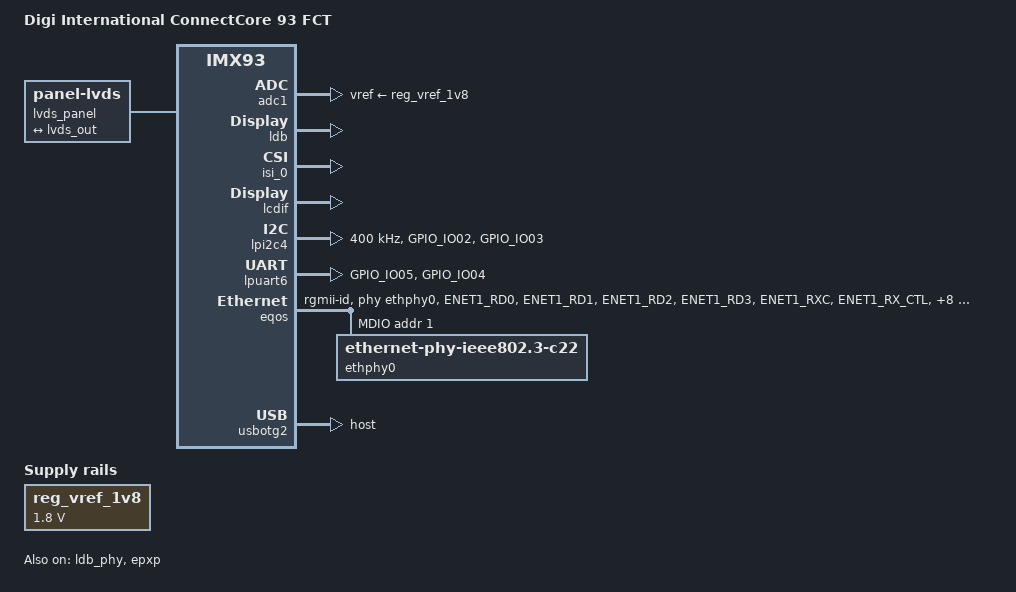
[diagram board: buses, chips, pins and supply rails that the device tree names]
/*
 * Copyright 2022, Digi International Inc.
 *
 * Permission to use, copy, modify, and/or distribute this software for any
 * purpose with or without fee is hereby granted, provided that the above
 * copyright notice and this permission notice appear in all copies.
 * THE SOFTWARE IS PROVIDED "AS IS" AND THE AUTHOR DISCLAIMS ALL WARRANTIES
 * WITH REGARD TO THIS SOFTWARE INCLUDING ALL IMPLIED WARRANTIES OF
 * MERCHANTABILITY AND FITNESS. IN NO EVENT SHALL THE AUTHOR BE LIABLE FOR
 * ANY SPECIAL, DIRECT, INDIRECT, OR CONSEQUENTIAL DAMAGES OR ANY DAMAGES
 * WHATSOEVER RESULTING FROM LOSS OF USE, DATA OR PROFITS, WHETHER IN AN
 * ACTION OF CONTRACT, NEGLIGENCE OR OTHER TORTIOUS ACTION, ARISING OUT OF
 * OR IN CONNECTION WITH THE USE OR PERFORMANCE OF THIS SOFTWARE.
 */

/dts-v1/;

/* i.MX93 CPU */
#include "../freescale/imx93.dtsi"
/* Digi ConnectCore 93 (SOM) */
#include "ccimx93.dtsi"

/ {
	model = "Digi International ConnectCore 93 FCT";
	compatible = "digi,ccimx93-dvk", "digi,ccimx93", "fsl,imx93";
	digi,machine,name = "ccimx93-dvk";

	chosen {
		stdout-path = &lpuart6;
	};

	regulators {
		compatible = "simple-bus";
		#address-cells = <1>;
		#size-cells = <0>;

		reg_vref_1v8: regulator-adc-vref {
			compatible = "regulator-fixed";
			regulator-name = "vref_1v8";
			regulator-min-microvolt = <1800000>;
			regulator-max-microvolt = <1800000>;
		};
	};

	lvds_panel: lvds_panel {
		compatible = "panel-lvds";
		status = "okay";
		data-mapping = "jeida-24";
		de-high;
		width-mm = <216>;
		height-mm = <135>;

		/* AUO G101EVN01.0 */
		panel-timing {
			clock-frequency = <68930000>;
			hactive = <1280>;
			vactive = <800>;
			hfront-porch = <120>;
			hback-porch = <2>;
			hsync-len = <8>;
			vback-porch = <10>;
			vfront-porch = <2>;
			vsync-len = <6>;
			hsync-active = <1>;
			vsync-active = <1>;
		};

		port {
			panel_lvds_in: endpoint {
				remote-endpoint = <&lvds_out>;
			};
		};
	};
};

/* ADC - 4 channels */
&adc1 {
	vref-supply = <&reg_vref_1v8>;
	status = "okay";
};

/* LVDS interface */
&ldb {
	status = "okay";

	lvds-channel@0 {
		status = "okay";

		port@1 {
			reg = <1>;

			lvds_out: endpoint {
				remote-endpoint = <&panel_lvds_in>;
			};
		};
	};
};

/* LVDS PHY */
&ldb_phy {
	status = "okay";
};

&epxp {
	status = "okay";
};

&isi_0 {
	status = "okay";

	cap_device {
		status = "okay";
	};
};

&lcdif {
	status = "okay";
	assigned-clock-rates = <498000000>, <68930000>, <400000000>, <133333333>;
};

/* I2C4 - Audio codec and HDMI bridge */
&lpi2c4 {
	#address-cells = <1>;
	#size-cells = <0>;
	clock-frequency = <400000>;
	pinctrl-names = "default", "sleep";
	pinctrl-0 = <&pinctrl_lpi2c4>;
	pinctrl-1 = <&pinctrl_lpi2c4>;
	status = "okay";
};

&lpuart6 { /* console */
	pinctrl-names = "default";
	pinctrl-0 = <&pinctrl_uart6>;
	status = "okay";
};

/* Ethernet EQoS */
&eqos {
	pinctrl-names = "default";
	pinctrl-0 = <&pinctrl_eqos>, <&pinctrl_eqos_mdio>;
	phy-mode = "rgmii-id";
	phy-handle = <&ethphy0>;
	status = "okay";

	mdio {
		compatible = "snps,dwmac-mdio";
		#address-cells = <1>;
		#size-cells = <0>;
		clock-frequency = <5000000>;

		ethphy0: ethernet-phy@1 {
			compatible = "ethernet-phy-ieee802.3-c22";
			reg = <1>;
		};
	};
};


/* USB_OTG2 connected to usb hub */
&usbotg2 {
	dr_mode = "host";
	disable-over-current;
	status = "okay";
};

&iomuxc {
	pinctrl-names = "default";
	pinctrl-0 = <&pinctrl_hog_common>, <&pinctrl_hog_non_wb>;
	pinctrl_hog_common: hoggrpcommon {
		fsl,pins = <
			/* COMMON PAIRS */
/* B24 */		MX93_PAD_GPIO_IO17__GPIO2_IO17				0x31e
/* C18 */		MX93_PAD_SAI1_TXC__GPIO1_IO12				0x31e

/* C17 */		MX93_PAD_SAI1_TXFS__GPIO1_IO11				0x31e
/* C19 */		MX93_PAD_GPIO_IO26__GPIO2_IO26				0x31e

/* C24 */		MX93_PAD_GPIO_IO24__GPIO2_IO24				0x31e
/* D17 */		MX93_PAD_GPIO_IO15__GPIO2_IO15				0x31e

/* E3 */		MX93_PAD_GPIO_IO19__GPIO2_IO19				0x31e
/* D18 */		MX93_PAD_SAI1_RXD0__GPIO1_IO14				0x31e

/* E4 */		MX93_PAD_SD2_RESET_B__GPIO3_IO07			0x31e
/* E22 */		MX93_PAD_GPIO_IO13__GPIO2_IO13				0x31e

/* E27 */		MX93_PAD_GPIO_IO23__GPIO2_IO23				0x31e
/* E18 */		MX93_PAD_GPIO_IO14__GPIO2_IO14				0x31e

/* E28 */		MX93_PAD_GPIO_IO22__GPIO2_IO22				0x31e
/* E19 */		MX93_PAD_GPIO_IO12__GPIO2_IO12				0x31e

/* F1 */		MX93_PAD_SD2_CMD__GPIO3_IO02				0x31e
/* E17 */		MX93_PAD_SAI1_TXD0__GPIO1_IO13				0x31e

/* G1 */		MX93_PAD_SD2_DATA0__GPIO3_IO03				0x31e
/* E20 */		MX93_PAD_GPIO_IO21__GPIO2_IO21				0x31e

/* G2 */		MX93_PAD_SD2_CD_B__GPIO3_IO00				0x31e
/* E21 */		MX93_PAD_GPIO_IO20__GPIO2_IO20				0x31e

/* E23 */		MX93_PAD_GPIO_IO16__GPIO2_IO16				0x31e
/* D25 */		MX93_PAD_CCM_CLKO2__GPIO3_IO27				0x31e

/* H1 */		MX93_PAD_SD2_DATA1__GPIO3_IO04				0x31e
/* J1 */		MX93_PAD_SD2_DATA2__GPIO3_IO05				0x31e

/* K1 */		MX93_PAD_SD2_DATA3__GPIO3_IO06				0x31e
/* U29 */		MX93_PAD_PDM_BIT_STREAM0__GPIO1_IO09			0x31e

/* L1 */		MX93_PAD_SD2_CLK__GPIO3_IO01				0x31e
/* T29 */		MX93_PAD_PDM_CLK__GPIO1_IO08				0x31e

/* N29 */		MX93_PAD_GPIO_IO11__GPIO2_IO11				0x31e
/* M29 */		MX93_PAD_GPIO_IO10__GPIO2_IO10				0x31e

/* R1 */		MX93_PAD_GPIO_IO09__GPIO2_IO09				0x31e
/* AF1 */		MX93_PAD_ENET2_MDC__GPIO4_IO14				0x31e

/* Y1 */		MX93_PAD_PDM_BIT_STREAM1__GPIO1_IO10			0x31e
/* AG1 */		MX93_PAD_ENET2_MDIO__GPIO4_IO15				0x31e

/* P1 */		MX93_PAD_GPIO_IO08__GPIO2_IO08				0x31e
/* AL20 */		MX93_PAD_GPIO_IO28__GPIO2_IO28				0x31e

/* AN5 */		MX93_PAD_SD2_VSELECT__GPIO3_IO19			0x31e
/* AL18 */		MX93_PAD_CCM_CLKO1__GPIO3_IO26				0x31e

/* AG28 */		MX93_PAD_CCM_CLKO4__GPIO4_IO29				0x31e
/* AG25 */		MX93_PAD_CCM_CLKO3__GPIO4_IO28				0x31e

/* V1 */		MX93_PAD_I2C2_SCL__GPIO1_IO02				0x31e
/* W1 */		MX93_PAD_I2C2_SDA__GPIO1_IO03				0x31e

/* AN4 (LED test) */	MX93_PAD_GPIO_IO18__GPIO2_IO18				0x31e
		>;
	};

	pinctrl_hog_non_wb: hoggrpnonwb {
		fsl,pins = <
			/* COMMON NON-WIRELESS PAIRS */
			/* Wifi */
/* D12 */		MX93_PAD_SD3_CLK__GPIO3_IO20				0x31e
/* D6 */		MX93_PAD_SD3_DATA2__GPIO3_IO24				0x31e

/* D11 */		MX93_PAD_SD3_CMD__GPIO3_IO21				0x31e
/* D5 */		MX93_PAD_SD3_DATA3__GPIO3_IO25				0x31e

/* D9 */		MX93_PAD_SD3_DATA0__GPIO3_IO22				0x31e
/* D8 */		MX93_PAD_SD3_DATA1__GPIO3_IO23				0x31e

			/* BT uart */
/* E13 */		MX93_PAD_UART1_TXD__GPIO1_IO05				0x31e
/* E12 */		MX93_PAD_UART1_RXD__GPIO1_IO04				0x31e

/* F11 */		MX93_PAD_UART2_TXD__GPIO1_IO07				0x31e
/* F11 */		MX93_PAD_UART2_RXD__GPIO1_IO06				0x31e
		>;
	};

	/* EQoS RGMII */
	pinctrl_eqos: eqosgrp {
		fsl,pins = <
			MX93_PAD_ENET1_RD0__ENET_QOS_RGMII_RD0			0x57e
			MX93_PAD_ENET1_RD1__ENET_QOS_RGMII_RD1			0x57e
			MX93_PAD_ENET1_RD2__ENET_QOS_RGMII_RD2			0x57e
			MX93_PAD_ENET1_RD3__ENET_QOS_RGMII_RD3			0x57e
			MX93_PAD_ENET1_RXC__CCM_ENET_QOS_CLOCK_GENERATE_RX_CLK	0x5fe
			MX93_PAD_ENET1_RX_CTL__ENET_QOS_RGMII_RX_CTL		0x57e
			MX93_PAD_ENET1_TD0__ENET_QOS_RGMII_TD0			0x57e
			MX93_PAD_ENET1_TD1__ENET_QOS_RGMII_TD1			0x57e
			MX93_PAD_ENET1_TD2__ENET_QOS_RGMII_TD2			0x57e
			MX93_PAD_ENET1_TD3__ENET_QOS_RGMII_TD3			0x57e
			MX93_PAD_ENET1_TXC__CCM_ENET_QOS_CLOCK_GENERATE_TX_CLK	0x5fe
			MX93_PAD_ENET1_TX_CTL__ENET_QOS_RGMII_TX_CTL		0x57e
		>;
	};

	/* EQoS MDIO */
	pinctrl_eqos_mdio: ethmdio {
		fsl,pins = <
			MX93_PAD_ENET1_MDC__ENET_QOS_MDC			0x57e
			MX93_PAD_ENET1_MDIO__ENET_QOS_MDIO			0x57e
		>;
	};

	/* I2C4 */
	pinctrl_lpi2c4: lpi2c4grp {
		fsl,pins = <
			MX93_PAD_GPIO_IO02__LPI2C4_SDA				0x40000b9e
			MX93_PAD_GPIO_IO03__LPI2C4_SCL				0x40000b9e
		>;
	};

	/* Serial console */
	pinctrl_uart6: uart6grp {
		fsl,pins = <
			MX93_PAD_GPIO_IO05__LPUART6_RX				0x31e
			MX93_PAD_GPIO_IO04__LPUART6_TX				0x31e
		>;
	};
};
